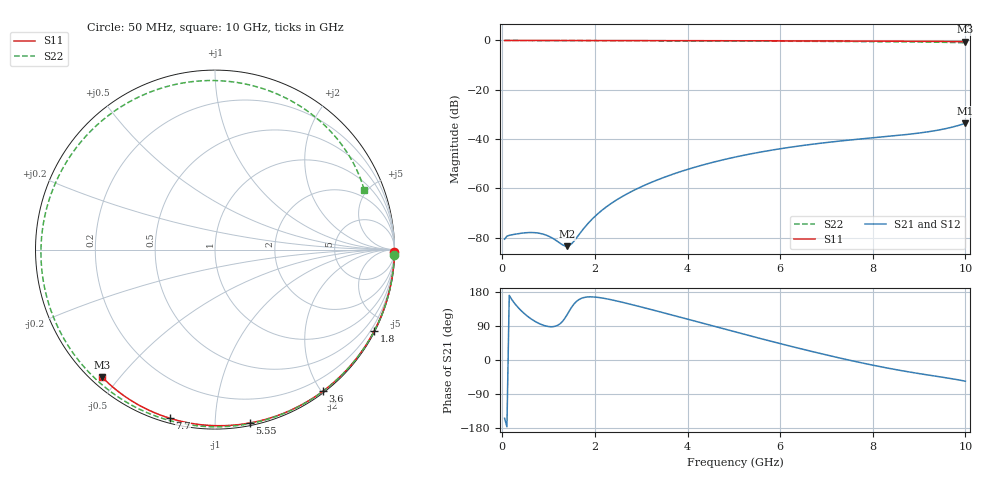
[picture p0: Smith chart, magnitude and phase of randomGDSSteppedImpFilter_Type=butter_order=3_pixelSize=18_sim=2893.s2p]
! freq	dB(S11)	phase(S11)	dB(S12)	phase(S12)
!  dB(S21)	phase(S21)	dB(S22)	phase(S22)
!S-par simulation data
#  GHz  S  DB  R 50
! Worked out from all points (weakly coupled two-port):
!   200 points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, 50 MHz to 10 GHz, reference 50 ohm
!   highest |S21| = -33.58 dB at 10 GHz (marker M1); lowest = -83.4 dB at 1.4 GHz (marker M2)
!   lowest |S11| = -0.5 dB at 10 GHz (marker M3), VSWR 38.21, Z = 1.58 - j22.6 ohm
!   |S11| at or under -10 dB: nowhere
!   |S22| runs from -1.0 to 0.0 dB; largest |S21 - S12| = 0
!   S11 on the Smith chart (normalised r, x): 50 MHz: open; 1.8 GHz: 0.04, -4.18; 3.6 GHz: 0.02, -2.02; 5.55 GHz: 0.02, -1.22; 7.7 GHz: 0.02, -0.77; 10 GHz: 0.03, -0.45
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0.05  -0.00 -0.8  -80.58 -153.8  -80.58 -153.8  -0.00 -1.8
0.6  -0.01 -9.1  -77.90 110.4  -77.90 110.4  -0.02 -21.7
1.1  -0.02 -16.6  -80.36 88.0  -80.36 88.0  -0.05 -39.4
1.4  -0.03 -21.0  -83.43 119.6  -83.43 119.6  -0.06 -49.7
1.6  -0.03 -24.0  -80.16 154.4  -80.16 154.4  -0.07 -56.5
1.75  -0.03 -26.2  -76.46 164.4  -76.46 164.4  -0.08 -61.6
1.8  -0.03 -26.9  -75.32 165.7  -75.32 165.7  -0.08 -63.3
2.1  -0.04 -31.3  -69.68 164.7  -69.68 164.7  -0.09 -73.2
2.45  -0.05 -36.4  -64.89 156.4  -64.89 156.4  -0.10 -84.5
2.9  -0.06 -42.8  -60.23 143.0  -60.23 143.0  -0.12 -98.7
3.4  -0.07 -49.9  -56.18 127.2  -56.18 127.2  -0.14 -114.0
3.6  -0.07 -52.6  -54.79 120.8  -54.79 120.8  -0.15 -120.0
4.35  -0.09 -62.9  -50.39 96.4  -50.39 96.4  -0.19 -142.2
5.05  -0.11 -72.2  -47.21 73.5  -47.21 73.5  -0.23 -162.7
5.55  -0.13 -78.6  -45.35 57.4  -45.35 57.4  -0.26 -177.5
6.15  -0.15 -86.2  -43.49 38.6  -43.49 38.6  -0.31 164.2
6.7  -0.18 -93.0  -42.07 22.1  -42.07 22.1  -0.36 146.7
7.7  -0.24 -105.0  -40.02 -6.0  -40.02 -6.0  -0.45 112.5
8.35  -0.29 -112.6  -38.87 -22.1  -38.87 -22.1  -0.53 88.3
9.1  -0.35 -121.2  -37.30 -37.8  -37.30 -37.8  -0.64 58.7
9.6  -0.41 -126.8  -35.66 -47.3  -35.66 -47.3  -0.77 38.3
10  -0.45 -131.3  -33.58 -56.0  -33.58 -56.0  -0.96 21.8
